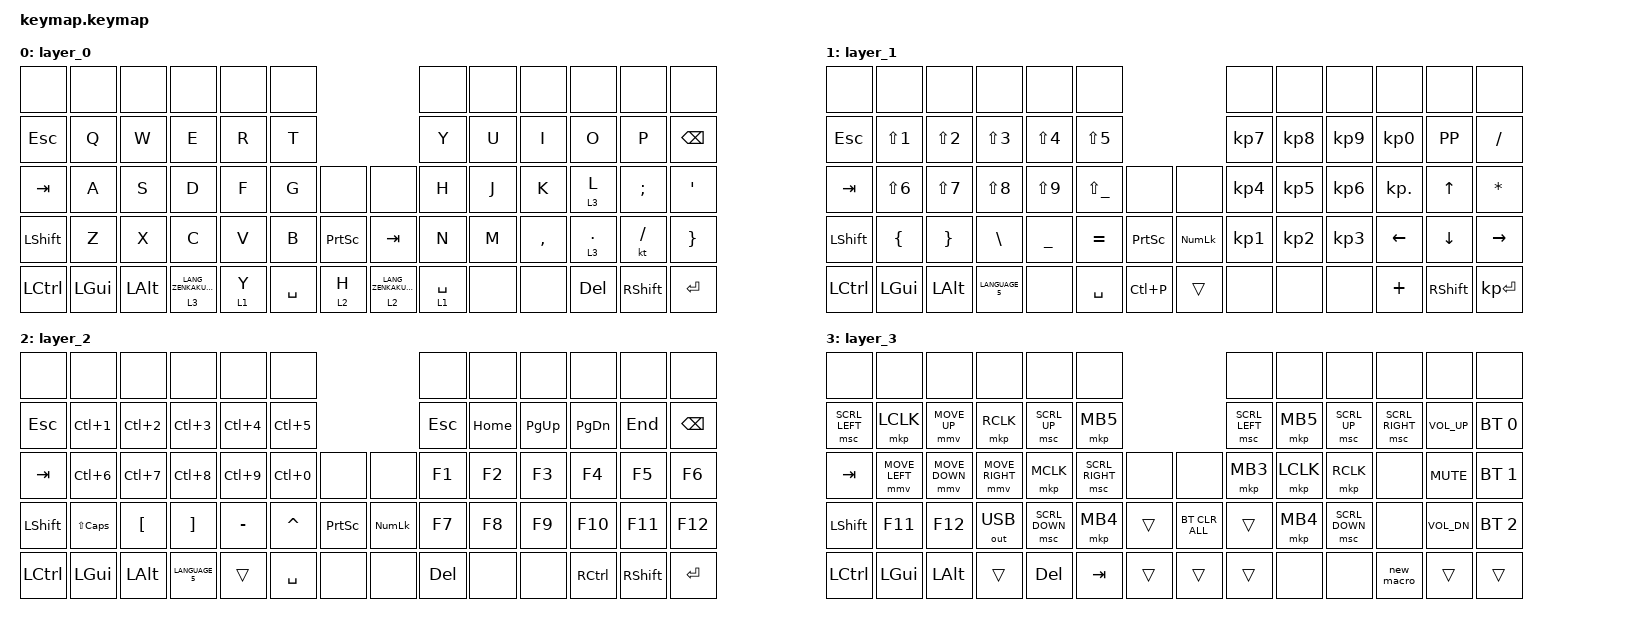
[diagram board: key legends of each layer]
#include <behaviors.dtsi>
#include <dt-bindings/zmk/bt.h>
#include <dt-bindings/zmk/keys.h>
#include <dt-bindings/zmk/outputs.h>
#include <dt-bindings/zmk/pointing.h>

/ {
    combos {
        compatible = "zmk,combos";

        bt_clear {
            bindings = <&bt BT_CLR>;
            key-positions = <28 29>;
            layers = <2>;
        };
    };

    macros {
        new_macro: new_macro {
            compatible = "zmk,behavior-macro";
            #binding-cells = <0>;
            bindings = <&kp L &kp N0 &kp N9 &kp NUMBER_1 &kp NUMBER_2>;
            label = "NEW_MACRO";
        };
    };

    keymap {
        compatible = "zmk,keymap";

        layer_0 {
            bindings = <
&none      &none         &none         &none                      &none    &none                                            &none        &none  &none      &none         &none            &none
&kp ESC    &kp Q         &kp W         &kp E                      &kp R    &kp T                                            &kp Y        &kp U  &kp I      &kp O         &kp P            &kp BSPC
&kp TAB    &kp A         &kp S         &kp D                      &kp F    &kp G      &none      &none                      &kp H        &kp J  &kp K      &lt 3 L       &kp SEMI         &kp SQT
&kp LSHFT  &kp Z         &kp X         &kp C                      &kp V    &kp B      &kp PSCRN  &kp TAB                    &kp N        &kp M  &kp COMMA  &lt 3 PERIOD  &kt SLASH        &kp RIGHT_BRACE
&kp LCTRL  &kp LEFT_GUI  &kp LEFT_ALT  &lt 3 LANG_ZENKAKUHANKAKU  &lt 1 Y  &kp SPACE  &lt 2 H    &lt 2 LANG_ZENKAKUHANKAKU  &lt 1 SPACE  &none  &none      &kp DELETE    &kp RIGHT_SHIFT  &kp ENTER
            >;
        };

        layer_1 {
            bindings = <
&none             &none             &none            &none             &none             &none                                             &none            &none            &none            &none            &none            &none
&kp ESCAPE        &kp LS(NUMBER_1)  &kp LS(N2)       &kp LS(NUMBER_3)  &kp LS(NUMBER_4)  &kp LS(N5)                                        &kp KP_NUMBER_7  &kp KP_NUMBER_8  &kp KP_NUMBER_9  &kp KP_NUMBER_0  &kp K_PP         &kp SLASH
&kp TAB           &kp LS(NUMBER_6)  &kp LS(N7)       &kp LS(N8)        &kp LS(N9)        &kp LS(UNDERSCORE)  &none            &none        &kp KP_NUMBER_4  &kp KP_NUMBER_5  &kp KP_NUMBER_6  &kp KP_DOT       &kp UP_ARROW     &kp STAR
&kp LEFT_SHIFT    &kp LEFT_BRACE    &kp RIGHT_BRACE  &kp BACKSLASH     &kp UNDERSCORE    &kp EQUAL           &kp PRINTSCREEN  &kp KP_NLCK  &kp KP_NUMBER_1  &kp KP_NUMBER_2  &kp KP_NUMBER_3  &kp LEFT_ARROW   &kp DOWN_ARROW   &kp RIGHT
&kp LEFT_CONTROL  &kp LEFT_GUI      &kp LEFT_ALT     &kp LANGUAGE_5    &none             &kp SPACE           &kp LC(P)        &trans       &none            &none            &none            &kp PLUS         &kp RIGHT_SHIFT  &kp KP_ENTER
            >;
        };

        layer_2 {
            bindings = <
&none             &none             &none             &none              &none       &none                                        &none       &none     &none        &none              &none            &none
&kp ESC           &kp LC(NUMBER_1)  &kp LC(NUMBER_2)  &kp LC(N3)         &kp LC(N4)  &kp LC(N5)                                   &kp ESC     &kp HOME  &kp PAGE_UP  &kp PAGE_DOWN      &kp END          &kp BACKSPACE
&kp TAB           &kp LC(NUMBER_6)  &kp LC(N7)        &kp LC(N8)         &kp LC(N9)  &kp LC(N0)  &none            &none           &kp F1      &kp F2    &kp F3       &kp F4             &kp F5           &kp F6
&kp LEFT_SHIFT    &kp LS(CAPS)      &kp LEFT_BRACKET  &kp RIGHT_BRACKET  &kp MINUS   &kp CARET   &kp PRINTSCREEN  &kp KP_NUMLOCK  &kp F7      &kp F8    &kp F9       &kp F10            &kp F11          &kp F12
&kp LEFT_CONTROL  &kp LEFT_GUI      &kp LEFT_ALT      &kp LANGUAGE_5     &trans      &kp SPACE   &none            &none           &kp DELETE  &none     &none        &kp RIGHT_CONTROL  &kp RIGHT_SHIFT  &kp ENTER
            >;
        };

        layer_3 {
            bindings = <
&none             &none           &none           &none            &none           &none                                    &none           &none      &none           &none            &none         &none
&msc SCRL_LEFT    &mkp LCLK       &mmv MOVE_UP    &mkp RCLK        &msc SCRL_UP    &mkp MB5                                 &msc SCRL_LEFT  &mkp MB5   &msc SCRL_UP    &msc SCRL_RIGHT  &kp C_VOL_UP  &bt BT_SEL 0
&kp TAB           &mmv MOVE_LEFT  &mmv MOVE_DOWN  &mmv MOVE_RIGHT  &mkp MCLK       &msc SCRL_RIGHT  &none   &none           &mkp MB3        &mkp LCLK  &mkp RCLK       &none            &kp K_MUTE    &bt BT_SEL 1
&kp LEFT_SHIFT    &kp F11         &kp F12         &out OUT_USB     &msc SCRL_DOWN  &mkp MB4         &trans  &bt BT_CLR_ALL  &trans          &mkp MB4   &msc SCRL_DOWN  &none            &kp C_VOL_DN  &bt BT_SEL 2
&kp LEFT_CONTROL  &kp LEFT_GUI    &kp LEFT_ALT    &trans           &kp DELETE      &kp TAB          &trans  &trans          &trans          &none      &none           &new_macro       &trans        &trans
            >;
        };
    };
};
